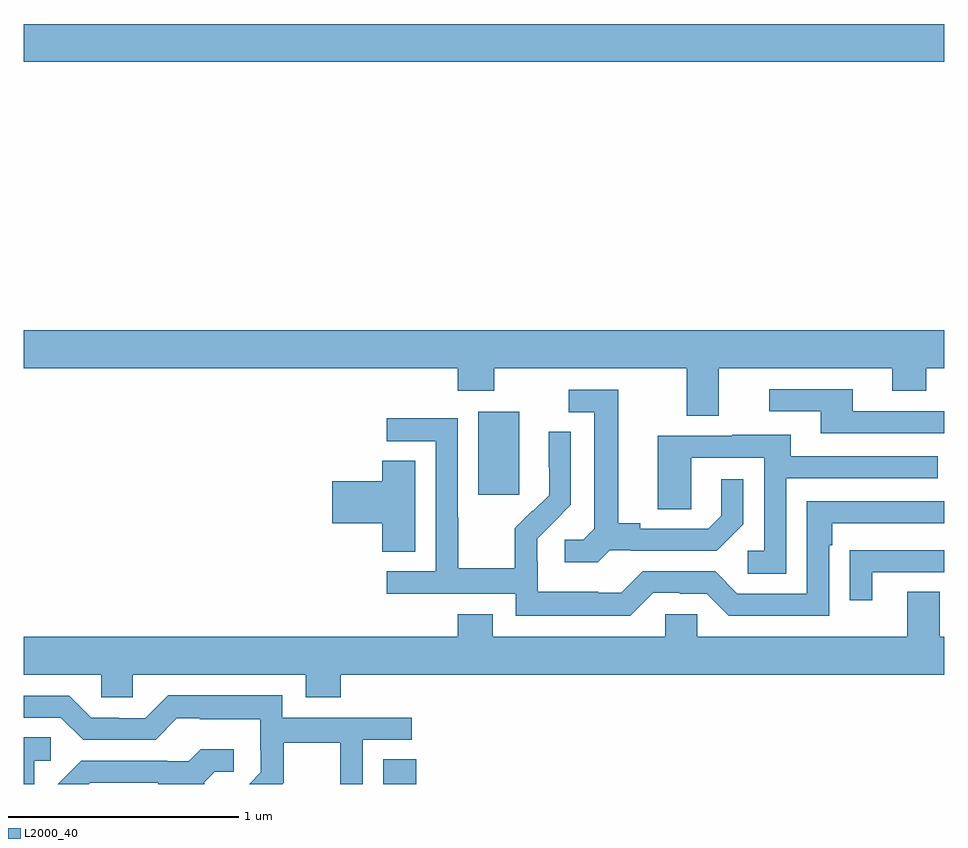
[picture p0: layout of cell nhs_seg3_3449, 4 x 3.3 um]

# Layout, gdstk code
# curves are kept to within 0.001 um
import gdstk
lib = gdstk.Library(unit=1e-6, precision=1e-09)
def R(c, l, rs):  # rectangles x0, y0, x1, y1
    for r in rs: c.add(gdstk.rectangle(r[:2], r[2:], *l))
def P(c, l, *ps):  # polygons
    for p in ps: c.add(gdstk.Polygon(p, *l))
L2000_40 = (2000, 40)

nhs_seg3_3449 = lib.new_cell('nhs_seg3_3449')
R(nhs_seg3_3449, L2000_40, [(290.561,740.4,290.705,740.507), (290.975,741.657,291.154,742.018), (289,743.54,293,743.704)])
P(nhs_seg3_3449, L2000_40, [(292.021,742.208),(292.775,742.208),(292.775,742.109),(292.923,742.109),(292.923,742.208),(293,742.208),(293,742.372),(289,742.372),(289,742.208),(290.885,742.208),(290.885,742.109),(291.045,742.109),(291.045,742.208),(291.881,742.208),(291.881,742),(292.021,742)],
  [(293,742.02),(292.603,742.02),(292.603,742.116),(292.239,742.116),(292.239,742.02),(292.463,742.02),(292.463,741.924),(293,741.924)],
  [(291.546,741.417),(291.64,741.417),(291.64,741.414),(292.012,741.414),(292.128,741.53),(292.128,741.724),(292.031,741.724),(292.031,741.567),(291.974,741.51),(291.679,741.51),(291.679,741.533),(291.583,741.533),(291.583,742.113),(291.369,742.113),(291.369,742.017),(291.479,742.017),(291.479,741.509),(291.432,741.462),(291.351,741.462),(291.351,741.365),(291.494,741.365)],
  [(291.735,741.231),(291.851,741.231),(291.851,741.228),(291.969,741.228),(292.065,741.132),(292.5,741.132),(292.5,741.437),(292.513,741.437),(292.513,741.534),(293,741.534),(293,741.63),(292.404,741.63),(292.404,741.228),(292.101,741.228),(292.005,741.324),(291.69,741.324),(291.597,741.231),(291.497,741.231),(291.497,741.235),(291.234,741.235),(291.234,741.369),(291.232,741.369),(291.232,741.466),(291.378,741.614),(291.378,741.932),(291.282,741.932),(291.282,741.778),(291.284,741.778),(291.284,741.656),(291.213,741.585),(291.21,741.588),(291.133,741.511),(291.133,741.337),(290.889,741.337),(290.889,741.56),(290.886,741.56),(290.886,741.99),(290.577,741.99),(290.577,741.891),(290.79,741.891),(290.79,741.324),(290.577,741.324),(290.577,741.228),(291.138,741.228),(291.138,741.131),(291.635,741.131)],
  [(292.314,741.729),(292.973,741.729),(292.973,741.825),(292.333,741.825),(292.333,741.919),(292.079,741.919),(292.079,741.915),(291.755,741.915),(291.755,741.595),(291.9,741.595),(291.9,741.819),(292.218,741.819),(292.218,741.414),(292.146,741.414),(292.146,741.313),(292.314,741.313)],
  [(290.701,741.806),(290.558,741.806),(290.558,741.716),(290.34,741.716),(290.34,741.533),(290.558,741.533),(290.558,741.409),(290.701,741.409)],
  [(292.687,741.321),(293,741.321),(293,741.417),(292.693,741.417),(292.693,741.416),(292.591,741.416),(292.591,741.198),(292.687,741.198)],
  [(290.378,740.876),(293,740.876),(293,741.04),(292.981,741.04),(292.981,741.235),(292.841,741.235),(292.841,741.04),(291.927,741.04),(291.927,741.138),(291.789,741.138),(291.789,741.04),(291.037,741.04),(291.037,741.139),(290.885,741.139),(290.885,741.04),(289,741.04),(289,740.876),(289.335,740.876),(289.335,740.778),(289.473,740.778),(289.473,740.876),(290.225,740.876),(290.225,740.777),(290.378,740.777)],
  [(290.129,740.405),(290.129,740.58),(290.374,740.58),(290.374,740.4),(290.472,740.4),(290.472,740.592),(290.686,740.592),(290.686,740.688),(290.124,740.688),(290.124,740.785),(289.627,740.785),(289.527,740.685),(289.412,740.685),(289.412,740.688),(289.293,740.688),(289.197,740.784),(289,740.784),(289,740.688),(289.161,740.688),(289.257,740.592),(289.572,740.592),(289.665,740.685),(289.765,740.685),(289.765,740.681),(290.028,740.681),(290.028,740.547),(290.03,740.547),(290.03,740.45),(289.98,740.4),(290.124,740.4)],
  [(289.044,740.502),(289.117,740.502),(289.117,740.603),(289,740.603),(289,740.4),(289.044,740.4)],
  [(289.288,740.406),(289.583,740.406),(289.583,740.4),(289.783,740.4),(289.783,740.407),(289.83,740.454),(289.912,740.454),(289.912,740.551),(289.768,740.551),(289.716,740.499),(289.622,740.499),(289.622,740.502),(289.25,740.502),(289.148,740.4),(289.282,740.4)])

lib.write_gds('nhs_seg3_3449.gds')
